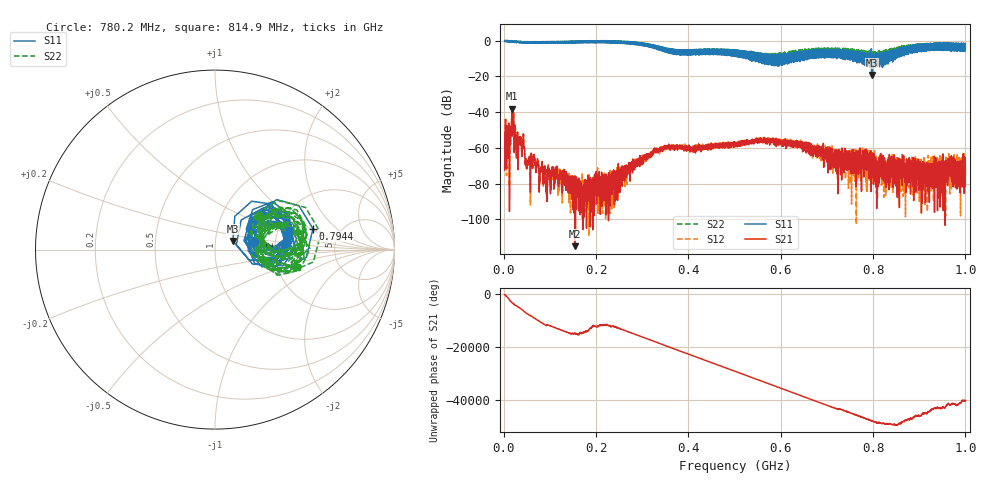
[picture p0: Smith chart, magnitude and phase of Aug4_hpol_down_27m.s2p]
!Keysight Technologies N9923A: A.12.45
!Date: Tuesday, 05 August 2025 18:34:14
!Timezone: (UTC+08:00) Kuala Lumpur, Singapore
!Model: N9923A
!Serial: MY61181427
!GPS Latitude:
!GPS Longitude:
!GPS TimeStamp: 0001-01-01 00:00:00Z
!GPS Seconds Since Last Read: 0
!CHECKSUM:0477617354
!Correction: S11(ON U)S21(ON U)S12(ON U)S22(ON U)
!S2P File: Measurements:S11,S21,S12,S22:
# Hz S DB R 50
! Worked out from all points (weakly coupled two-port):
!   4001 points, 2 MHz to 1 GHz, reference 50 ohm
!   highest |S21| = -38.02 dB at 17.97 MHz (marker M1); lowest = -115.0 dB at 153.9 MHz (marker M2)
!   lowest |S11| = -19.1 dB at 796.9 MHz (marker M3), VSWR 1.25, Z = 60.7 + j5.93 ohm
!   |S11| at or under -10 dB: 569.0892 MHz to 569.8667 MHz (777.4 kHz wide, 0.137 % of centre); 575.8421 MHz to 576.6551 MHz (813.1 kHz wide, 0.141 % of centre); 584.2444 MHz to 585.1068 MHz (862.4 kHz wide, 0.148 % of centre)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
!   |S22| runs from -13.8 to 0.1 dB; largest |S21 - S12| = 0.0012
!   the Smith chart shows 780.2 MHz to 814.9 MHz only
!   S11 on the Smith chart (normalised r, x): 780.2 MHz: 1.55, +0.13; 794.4 MHz: 3.13, +1.06; 814.9 MHz: 2.30, +0.61
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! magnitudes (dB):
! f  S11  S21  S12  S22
! 2 MHz  -0.1  -72.6  -70.6  -0.1
! 17.97 MHz  -0.6  -38.0  -38.0  -0.7
! 21.46 MHz  -0.5  -40.1  -40.1  -0.6
! 30.69 MHz  -0.9  -54.6  -54.3  -1.0
! 40.17 MHz  -0.6  -57.4  -57.9  -0.4
! 53.65 MHz  -0.7  -68.4  -68.1  -0.6
! 63.88 MHz  -0.8  -66.5  -66.7  -0.8
! 89.82 MHz  -1.2  -71.4  -70.1  -1.1
! 153.9 MHz  -0.5  -115.0  -84.6  -0.4
! 168.4 MHz  -1.2  -80.1  -83.1  -1.0
! 239.8 MHz  -0.2  -79.7  -78.1  -0.1
! 334.8 MHz  -4.0  -62.7  -61.2  -4.7
! 501 MHz  -6.0  -59.0  -58.7  -6.9
! 579.3 MHz  -11.3  -55.2  -55.2  -8.2
! 667.4 MHz  -8.8  -62.2  -60.7  -8.4
! 780.2 MHz  -13.0  -76.2  -65.8  -10.1
! 794.4 MHz  -5.1  -72.0  -64.9  -7.9
! 796.9 MHz  -19.1  -71.3  -69.7  -7.1
! 814.9 MHz  -7.4  -71.4  -66.1  -6.6
! 833.8 MHz  -9.0  -71.6  -76.0  -5.4
! 865.5 MHz  -3.9  -73.4  -87.1  -3.2
! 1 GHz  -1.6  -73.7  -72.2  -3.2
